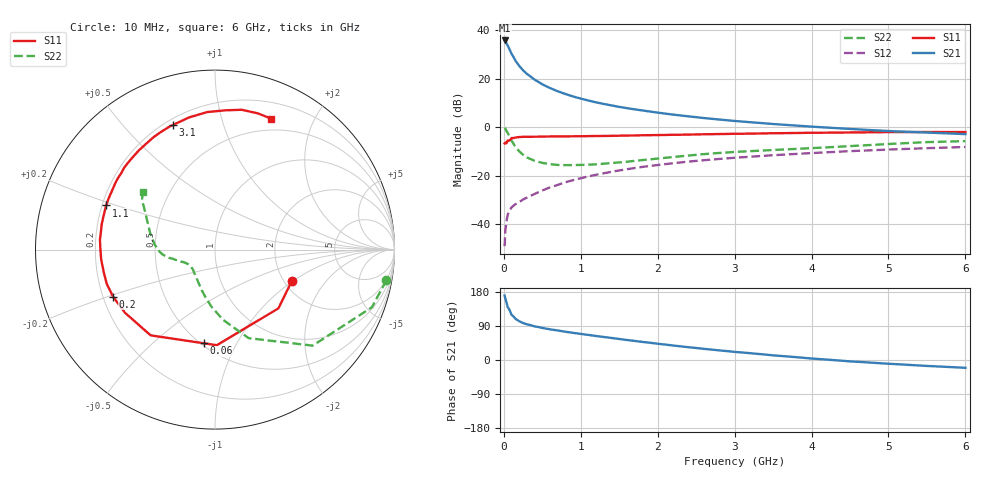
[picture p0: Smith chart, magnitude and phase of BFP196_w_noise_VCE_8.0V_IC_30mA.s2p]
! Infineon Technologies  Discrete & RF Semiconductors
! BFP196
! VCE =  8.0 V,  IC =  30 mA
! Common Emitter S-Parameters:  Jan 2017
# GHz  S  MA  R  50
!  f  S11  S21  S12  S22
! GHz  MAG  ANG  MAG  ANG  MAG  ANG  MAG  ANG
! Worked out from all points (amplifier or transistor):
!   77 points, 10 MHz to 6 GHz, reference 50 ohm
!   highest |S21| = 35.8 dB at 10 MHz (marker M1)
!   |S21| within 3 dB of that: start of sweep to 63.94 MHz
!   unconditionally stable (mu >= 1): 678.2 MHz to 2.401 GHz
!   at 130 MHz: K = 0.47, MSG = 30.5 dB, |S12| = -32.3 dB
!   at 2.2 GHz: K = 1.01, MAG = 9.4 dB, |S12| = -14.9 dB
!   at 6 GHz: K = 0.93, MSG = 2.7 dB, |S12| = -8.2 dB
!   lowest NFmin = 1.22 dB at 450 MHz
!   S11 on the Smith chart (normalised r, x): 10 MHz: 2.20, -0.97; 60 MHz: 0.52, -0.74; 200 MHz: 0.24, -0.21; 1.1 GHz: 0.22, +0.19; 3.1 GHz: 0.23, +0.69; 6 GHz: 0.37, +1.46
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0.01  0.4624 -22.1  61.66 170.2  0.0035 81.7  0.9699 -10.2
0.02  0.4816 -42.8  60.07 161.5  0.0075 77.1  0.9312 -20.2
0.05  0.5329 -88.9  48.49 139.7  0.0156 59.5  0.7633 -44.5
0.06  0.5256 -96.9  45 136.8  0.0169 57.4  0.7079 -48.1
0.1  0.5973 -126.9  32.84 119.3  0.0221 51.4  0.5277 -69.2
0.15  0.6128 -145.0  23.73 108.8  0.0257 46.9  0.3928 -83.6
0.2  0.6256 -155.2  18.4 102.3  0.0284 49.4  0.3176 -93.7
0.25  0.6324 -162.4  14.94 97.5  0.0322 51.2  0.2699 -101.4
0.3  0.6322 -167.4  12.56 94.2  0.0351 53.3  0.2379 -108.1
0.4  0.6366 -174.9  9.553 88.8  0.0419 57.0  0.202 -118.0
0.5  0.6388 179.6  7.667 84.6  0.0493 59.1  0.1834 -125.8
0.6  0.6434 175.0  6.428 81.0  0.0573 60.4  0.1731 -132.2
0.7  0.6433 171.4  5.517 77.9  0.0644 61.4  0.1662 -137.1
0.9  0.6479 164.2  4.303 71.7  0.0808 61.7  0.1652 -144.3
1.1  0.6543 157.9  3.546 66.2  0.0966 61.4  0.1683 -149.6
1.5  0.6675 146.4  2.626 55.5  0.1279 58.2  0.1876 -158.0
2.1  0.6913 130.3  1.905 40.7  0.1728 51.7  0.2335 -166.6
2.6  0.7138 118.7  1.545 29.5  0.2082 45.7  0.278 -172.5
3.1  0.7329 108.5  1.306 19.8  0.2395 39.6  0.3138 -179.3
4.1  0.7685 91.8  1.004 2.5  0.2976 28.0  0.3764 164.7
5.1  0.7928 77.9  0.821 -11.0  0.3498 16.5  0.4576 149.6
6  0.794 66.7  0.719 -20.6  0.3905 6.4  0.5155 141.4
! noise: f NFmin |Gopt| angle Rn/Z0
0.45  1.22  0.34  169  0.05
0.9  1.38  0.45  -172  0.06
1.9  2.24  0.68  -135  0.25
2.4  2.64  0.71  -121  0.6
